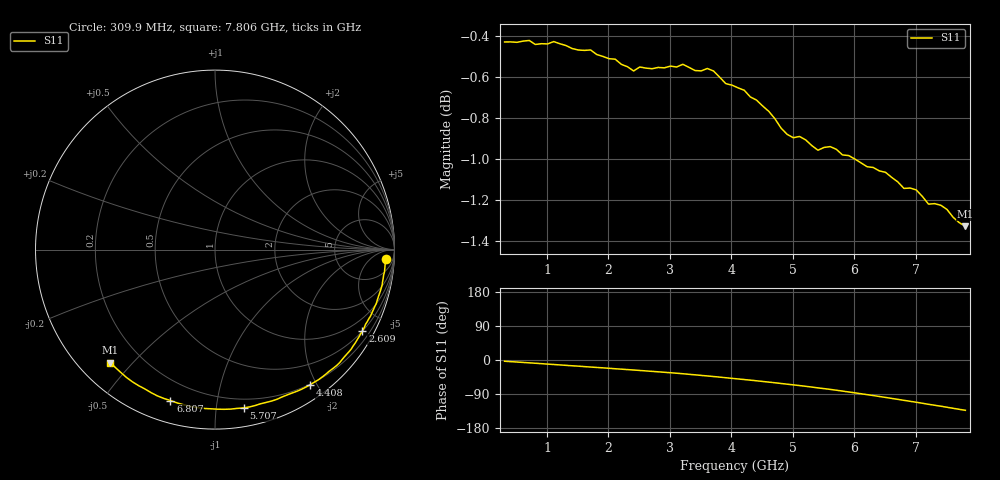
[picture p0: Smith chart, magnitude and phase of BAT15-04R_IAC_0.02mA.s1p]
! Infineon Technologies  Discrete & RF Semiconductors
! BAT15-04R
! IAC = 0.02 mA
! One-Port S-Parameters
# Hz  S  MA  R  50
!f  S11
!Hz  Mag  Ang
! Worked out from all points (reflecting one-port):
!   76 points, 309.9 MHz to 7.806 GHz, reference 50 ohm
!   lowest |S11| = -1.3 dB at 7.806 GHz (marker M1), VSWR 13.11, Z = 4.54 - j21.7 ohm
!   phase of S11 starts at -3 deg and turns -129 deg over the sweep
!   S11 on the Smith chart (normalised r, x): 309.9 MHz: 17, -20; 2.609 GHz: 0.51, -3.83; 4.408 GHz: 0.19, -1.91; 5.707 GHz: 0.13, -1.19; 6.807 GHz: 0.10, -0.74; 7.806 GHz: 0.09, -0.43
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3.0985e8  0.9516 -3.3
7.0965e8  0.9524 -7.5
1.10945e9  0.9518 -11.9
1.30935e9  0.9497 -14.1
1.70915e9  0.9473 -18.6
2.2089e9  0.9398 -24.2
2.6087e9  0.9378 -28.8
3.0085e9  0.9388 -33.6
3.2084e9  0.9398 -36.2
3.70815e9  0.9363 -43.6
4.10795e9  0.9275 -50.0
4.4078e9  0.9211 -54.9
4.70765e9  0.9116 -60.1
5.0075e9  0.9019 -65.6
5.2074e9  0.9009 -69.4
5.6072e9  0.8975 -77.6
5.70715e9  0.8961 -79.8
6.007e9  0.8913 -86.6
6.30685e9  0.887 -93.8
6.50675e9  0.8847 -98.7
6.70665e9  0.8799 -103.9
6.8066e9  0.8767 -106.5
6.90655e9  0.8769 -108.9
7.0065e9  0.876 -111.5
7.2064e9  0.869 -116.9
7.4063e9  0.8685 -122.0
7.6062e9  0.8627 -127.4
7.8061e9  0.8583 -132.7
